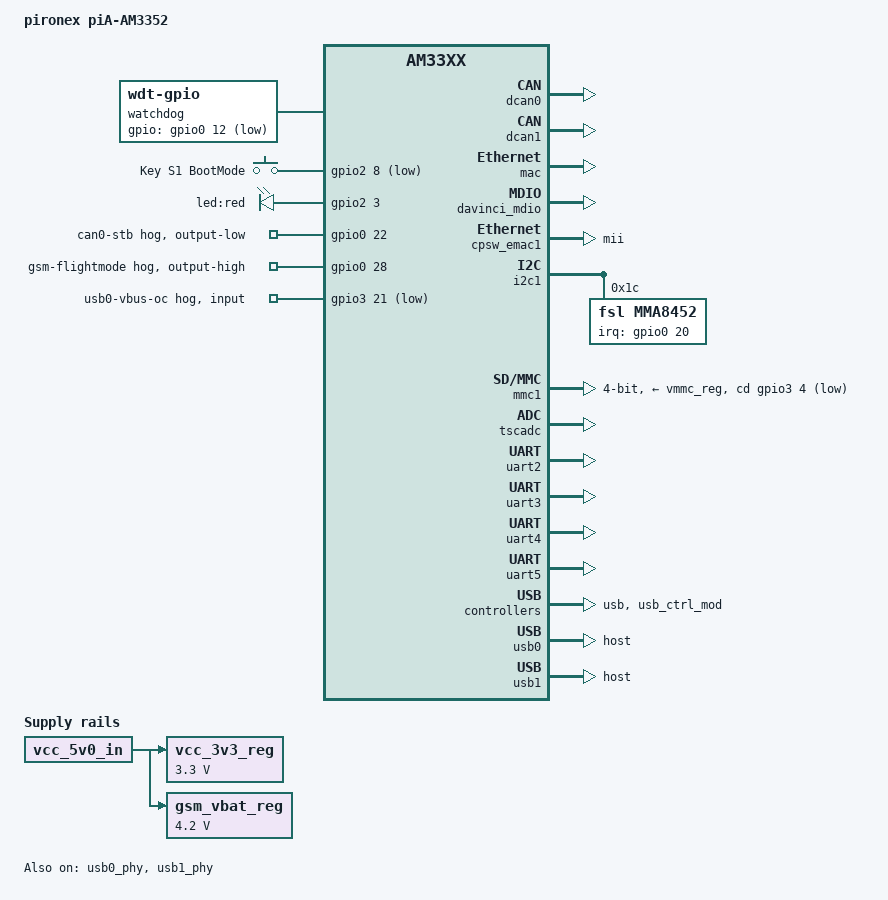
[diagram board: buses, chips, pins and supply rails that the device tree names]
/*
 * Copyright (C) 2015 pironex GmbH (http://www.pironex.de)
 *
 * This program is free software; you can redistribute it and/or modify
 * it under the terms of the GNU General Public License version 2 as
 * published by the Free Software Foundation.
 */
/dts-v1/;

#include "am335x-pia-pm.dtsi"

/ {
	model = "pironex piA-AM3352";
	compatible = "pironex,am335x-pia-base", "pironex,am335x-pia-pm", "ti,am33xx";

	/* cpus: defined in PM */
	/* memory: defined in PM, TODO different memory configurations */

	vcc_3v3_reg: fixedregulator@1 {
		compatible = "regulator-fixed";
		regulator-name = "vcc_3v3_reg";
		regulator-min-microvolt = <3300000>;
		regulator-max-microvolt = <3300000>;
		regulator-max-microamp = <1000000>;
		regulator-boot-on;
		regulator-always-on;
		enable-active-high;
		/*gpio = <&gpio2 23 GPIO_ACTIVE_HIGH>; *//* LDO_EN */
		vin-supply = <&vcc_5v0_in>; /* turned on with vaux2, supplied by vcc_5v0 */
	};

	gsm_vbat_reg: fixedregulator@2 {
		compatible = "regulator-fixed";
		regulator-name = "gsm_vbat_reg";
		regulator-min-microvolt = <4200000>;
		regulator-max-microvolt = <4200000>;
		regulator-max-microamp = <3000000>;
		regulator-boot-on;
		regulator-always-on;
		enable-active-high;
		/*gpio = <&gpio2 2 GPIO_ACTIVE_HIGH>;*/ /* GSM_PWR_EN */
		vin-supply = <&vcc_5v0_in>; /* turned on with vaux2, supplied by vcc_5v0 */
	};

	watchdog: watchdog {
		/* MAX6371 */
		compatible = "linux,wdt-gpio";
		gpios = <&gpio0 12 GPIO_ACTIVE_LOW>;
		hw_algo = "toggle";
		hw_margin_ms = <60000>;
	};

	buttons: gpio_buttons@0 {
		compatible = "gpio-keys";
		#address-cells = <1>;
		#size-cells = <0>;

		switch@1 {
			label = "Key S1 BootMode";
			linux,code = <0x100>;
			gpios = <&gpio2 8 GPIO_ACTIVE_LOW>;
		};
	};
};

&leds {
	led@2 {
		label = "led:red";
		gpios = <&gpio2 3 GPIO_ACTIVE_HIGH>;
		linux,default-trigger = "cpu0";
		default-state = "on";
	};
};

&gpio0 {
	gpio_can0_stb {
		gpio-hog;
		gpios = <22 GPIO_ACTIVE_HIGH>;
		output-low;
		line-name = "can0-stb";
	};

	gpio_gsm_fligthmode {
		gpio-hog;
		gpios = <28 GPIO_ACTIVE_HIGH>;
		output-high;
		line-name = "gsm-flightmode";
	};
};

&gpio3 {
	gpio_oc1 {
		gpio-hog;
		gpios = <21 GPIO_ACTIVE_LOW>;
		input;
		line-name = "usb0-vbus-oc";
	};
};

&am33xx_pinmux {
	pinctrl-names = "default";
	pinctrl-0 = <&board_pins>;

	board_pins: pinmux_board_pins {
		pinctrl-single,pins = <
			0x028 (PIN_INPUT | MUX_MODE7)		/* PM-OUTPUT: gpmc_ad10.gpio0_26*/
			0x090 (PIN_INPUT_PULLUP | MUX_MODE7)	/* GSM_PWR_EN: gpmc_advn_ale.gpio2_2 */
			0x098 (PIN_INPUT_PULLUP | MUX_MODE7)	/* GSM_PWR_OK: gpmc_wen.gpio2_4 */
			0x0A8 (PIN_INPUT | MUX_MODE7)		/* SYSBOOT2/S2: lcd_data2.gpio2_8 */
			0x0E4 (PIN_INPUT_PULLUP | MUX_MODE7)	/* LDO_EN: lcd_hsync.gpio2_23 
								 * unused since Rev 00.02 */
			0x0EC (PIN_INPUT_PULLUP | MUX_MODE7)	/* GSM_RESET: lcd_ac_bias_en.gpio2_25 */ 
			0x128 (PIN_INPUT | MUX_MODE7)		/* FLIGHT-MODE: mii1_txd0.gpio0_28 
								 * unused since Rev 00.02 */
			0x164 (PIN_INPUT | MUX_MODE7)		/* ISO-IN: ecap0_in_pwm0_out.gpio0_7 */
			0x178 (PIN_OUTPUT | MUX_MODE7)		/* WDI: uart1_ctsn.gpio0_12 */
			0x17C (PIN_OUTPUT | MUX_MODE7)		/* WD_SET2: uart1_rtsn.gpio0_13 */
			0x114 (PIN_INPUT | MUX_MODE7)		/* GSM_STATUS: mii1_txen.gpio3_3 */
			0x1A0 (PIN_INPUT_PULLUP | MUX_MODE7)	/* GSM_PWR_KEY: mcasp0_aclkr.gpio3_18 */
			0x1AC (PIN_INPUT | MUX_MODE7)		/* OC1: mcasp0_ahclkx.gpio3_21 */
			0x1B4 (PIN_INPUT_PULLUP | MUX_MODE7)	/* 3G_INT: xdma_event_intr1.gpio0_20 */
		>;
	};

	cpsw_default: pinmux_cpsw_default {
		pinctrl-single,pins = <
			/* Slave 2 */
			0x040 (PIN_OUTPUT_PULLDOWN | MUX_MODE1)	/* gpmc_a0.gmii2_txen */
			0x044 (PIN_INPUT_PULLUP | MUX_MODE1)	/* gpmc_a1.mii2_rxdv */
			0x048 (PIN_OUTPUT_PULLDOWN | MUX_MODE1)	/* gpmc_a2.mii2_txd3 */
			0x04c (PIN_OUTPUT_PULLDOWN | MUX_MODE1)	/* gpmc_a3.mii2_txd2 */
			0x050 (PIN_OUTPUT_PULLDOWN | MUX_MODE1)	/* gpmc_a4.mii2_txd1 */
			0x054 (PIN_OUTPUT_PULLDOWN | MUX_MODE1)	/* gpmc_a5.mii2_txd0 */
			0x058 (PIN_INPUT_PULLUP | MUX_MODE1)	/* gpmc_a6.mii2_txclk */
			0x05c (PIN_INPUT_PULLUP | MUX_MODE1)	/* gpmc_a7.mii2_rxclk */
			0x060 (PIN_INPUT_PULLUP | MUX_MODE1)	/* gpmc_a8.mii2_rxd3 */
			0x064 (PIN_INPUT_PULLUP | MUX_MODE1)	/* gpmc_a9.mii2_rxd2 */
			0x068 (PIN_INPUT_PULLUP | MUX_MODE1)	/* gpmc_a10.mii2_rxd1 */
			0x06c (PIN_INPUT_PULLUP | MUX_MODE1)	/* gpmc_a11.mii2_rxd0 */
			0x070 (PIN_INPUT_PULLUP | MUX_MODE1)	/* gpmc_wait0.gmii2_crs */
			0x074 (PIN_INPUT_PULLUP | MUX_MODE1)	/* gpmc_wpn.gmii2_rxerr */
			0x078 (PIN_INPUT_PULLUP | MUX_MODE1)	/* gpmc_be1n.gmii2_col */
		>;
	};

	cpsw_sleep: pinmux_cpsw_sleep {
		pinctrl-single,pins = <
			/* Slave 2 reset value */
			0x040 (PIN_INPUT_PULLDOWN | MUX_MODE7)
			0x044 (PIN_INPUT_PULLDOWN | MUX_MODE7)
			0x048 (PIN_INPUT_PULLDOWN | MUX_MODE7)
			0x04c (PIN_INPUT_PULLDOWN | MUX_MODE7)
			0x050 (PIN_INPUT_PULLDOWN | MUX_MODE7)
			0x054 (PIN_INPUT_PULLDOWN | MUX_MODE7)
			0x058 (PIN_INPUT_PULLDOWN | MUX_MODE7)
			0x05c (PIN_INPUT_PULLDOWN | MUX_MODE7)
			0x060 (PIN_INPUT_PULLDOWN | MUX_MODE7)
			0x064 (PIN_INPUT_PULLDOWN | MUX_MODE7)
			0x068 (PIN_INPUT_PULLDOWN | MUX_MODE7)
			0x06c (PIN_INPUT_PULLDOWN | MUX_MODE7)
			0x070 (PIN_INPUT_PULLDOWN | MUX_MODE7)
			0x074 (PIN_INPUT_PULLDOWN | MUX_MODE7)
			0x078 (PIN_INPUT_PULLDOWN | MUX_MODE7)
		>;
	};

	led_pins: pinmux_led {
		pinctrl-single,pins = <
			0x07c (PIN_OUTPUT_PULLDOWN | MUX_MODE7)	/* LED1 gpmc_csn0.gpio1_29 */
			0x094 (PIN_OUTPUT_PULLDOWN | MUX_MODE7)	/* LED2 gpmc_oen_ren.gpio2_3 */
		>;
	};

	davinci_mdio_default: pinmux_mdio_default {
		pinctrl-single,pins = <
			/* MDIO */
			0x148 (PIN_INPUT_PULLUP | SLEWCTRL_FAST | MUX_MODE0)	/* mdio_data.mdio_data */
			0x14c (PIN_OUTPUT_PULLUP | MUX_MODE0)			/* mdio_clk.mdio_clk */
		>;
	};

	davinci_mdio_sleep: pinmux_mdio_sleep {
		pinctrl-single,pins = <
			/* MDIO reset value */
			0x148 (PIN_INPUT_PULLDOWN | MUX_MODE7)
			0x14c (PIN_INPUT_PULLDOWN | MUX_MODE7)
		>;
	};

	dcan0_pins: pinmux_dcan0_pins {
		pinctrl-single,pins = <
			0x020 (PIN_OUTPUT_PULLUP | MUX_MODE7) /* CAN0_STB: gpmc_ad8.gpio0_22 */
			0x11C (PIN_OUTPUT | MUX_MODE1)	/* mii1_txd3.dcan0_tx */
			0x120 (PIN_INPUT | MUX_MODE1)	/* mii1_txd2.dcan0_rx */
		>;
	};

	dcan1_pins: pinmux_dcan1_pins {
		pinctrl-single,pins = <
			0x180 (PIN_OUTPUT | MUX_MODE2)	/* uart1_rxd.dcan1_tx */
			0x184 (PIN_INPUT | MUX_MODE2)	/* uart1_txd.dcan1_rx */
			0x0E8 (PIN_INPUT_PULLDOWN | MUX_MODE7) /* CAN1_RES: lcd_pclk.gpio2_24 */
		>;
	};

	mmc1_pins: pinmux_mmc1_pins {
		pinctrl-single,pins = <
			0x0f0 (PIN_INPUT_PULLUP | MUX_MODE0)	/* mmc0_dat0.mmc0_dat0 */
			0x0f4 (PIN_INPUT_PULLUP | MUX_MODE0)	/* mmc0_dat1.mmc0_dat1 */
			0x0f8 (PIN_INPUT_PULLUP | MUX_MODE0)	/* mmc0_dat2.mmc0_dat2 */
			0x0fc (PIN_INPUT_PULLUP | MUX_MODE0)	/* mmc0_dat3.mmc0_dat3 */
			0x100 (PIN_INPUT_PULLUP | MUX_MODE0)	/* mmc0_clk.mmc0_clk */
			0x104 (PIN_INPUT_PULLUP | MUX_MODE0)	/* mmc0_cmd.mmc0_cmd */
			0x118 (PIN_INPUT_PULLUP | MUX_MODE7)	/* mii1_rxdv.gpio3_4 */
		>;
	};

	uart2_pins: pinmux_uart2_pins {
		pinctrl-single,pins = <
			/* 0x0C0 (PIN_INPUT_PULLUP | MUX_MODE6) */	/* lcd_data8.uart2_ctsn */
			/* 0x0C4 (PIN_OUTPUT | MUX_MODE6) */	/* lcd_data9.uart2_rtsn */
			0x12C (PIN_INPUT_PULLUP | MUX_MODE1)	/* mii1_txclk.uart2_rxd */
			0x130 (PIN_OUTPUT_PULLDOWN | MUX_MODE1)	/* mii1_rxclk.uart2_txd */
			0x19C (PIN_INPUT_PULLUP | MUX_MODE7)	/* UART2.RI: mcasp0_ahclkr.gpio3_17 */
			0x1A4 (PIN_INPUT | MUX_MODE7)	/* UART2.DTR: mcasp0_fsr.gpio3_19 */
		>;
	};

	uart3_pins: pinmux_uart3_pins {
		pinctrl-single,pins = <
			0x02C (PIN_INPUT_PULLDOWN | MUX_MODE7)	/* RES gpmc_ad11.gpio0_27 */
			0x0CC (PIN_OUTPUT | MUX_MODE7)		/* RTSn lcd_data11.gpio2_17 */
			/*0x0CC (PIN_INPUT | MUX_MODE6)*/		/* RTSn lcd_data11.uart3_rtsn */
			0x134 (PIN_INPUT_PULLUP | MUX_MODE1)	/* mii1_rxd3.uart3_rxd */
			0x138 (PIN_OUTPUT_PULLDOWN | MUX_MODE1)	/* mii1_rxd2.uart3_txd */
		>;
	};

	uart4_pins: pinmux_uart4_pins {
		pinctrl-single,pins = <
			0x168 (PIN_INPUT_PULLUP | MUX_MODE1)	/* uart0_rxd.uart4_rxd */
			0x16C (PIN_OUTPUT_PULLDOWN | MUX_MODE1)	/* uart0_txd.uart4_txd */
		>;
	};

	uart5_pins: pinmux_uart5_pins {
		pinctrl-single,pins = <
			0x0E0 (PIN_INPUT_PULLUP | MUX_MODE7)	/* nINVALID lcd_vsync.gpio2_22 */
			0x108 (PIN_INPUT_PULLUP | MUX_MODE3)	/* mii1_col.uart5_rxd */
			0x144 (PIN_OUTPUT_PULLDOWN | MUX_MODE3)	/* rmii1_refclk.uart5_txd */
		>;
	};

	usb0_pins: pinmux_usb0_pins {
		pinctrl-single,pins = <
			0x21c (PIN_OUTPUT | MUX_MODE0)	/* usb0_drvvbus.usb0_drvvbus */
		>;
	};

	usb1_pins: pinmux_usb1_pins {
		pinctrl-single,pins = <
			0x234 (PIN_OUTPUT | MUX_MODE0)	/* usb1_drvvbus.usb1_drvvbus */
		>;
	};
};

&dcan0 {
	pinctrl-names = "default";
	pinctrl-0 = <&dcan0_pins>;
	/* TODO is there a ways to provide a -supply? */

	status = "okay";
};

&dcan1 {
	pinctrl-names = "default";
	pinctrl-0 = <&dcan1_pins>;

	status = "okay";
};

&mac {
	pinctrl-names = "default", "sleep";
	pinctrl-0 = <&cpsw_default>;
	pinctrl-1 = <&cpsw_sleep>;
	active_slave = <1>; /* only MII2 connected */

	status = "okay";
};

&davinci_mdio {
	pinctrl-names = "default", "sleep";
	pinctrl-0 = <&davinci_mdio_default>;
	pinctrl-1 = <&davinci_mdio_sleep>;

	status = "okay";
};

&cpsw_emac1 {
	phy_id = <&davinci_mdio>, <0>;
	phy-mode = "mii";
};

&i2c1 {
	mma8452@1C {
		compatible = "fsl,mma8452";
		reg = <0x1C>;
		interrupt-parent = <&gpio0>;
		interrupts = <20 2>; /* low flank */
	};
};

/* uSD */
&mmc1 {
	vmmc-supply = <&vmmc_reg>;
	bus-width = <4>; /* 4 data lines */
	pinctrl-names = "default";
	pinctrl-0 = <&mmc1_pins>;
	cd-gpios = <&gpio3 4 GPIO_ACTIVE_LOW>;

	status = "okay";
};

&tscadc {
	status = "okay";

	/*tsc { };*/
	adc {
		ti,adc-channels = <6>;
		ti,chan-step-avg = <16>;
	};
};

/* SIMCOM GSM AT */
&uart2 {
	pinctrl-names = "default";
	pinctrl-0 = <&uart2_pins>;

	status = "okay";
};

/* RS485 */
&uart3 {
	pinctrl-names = "default";
	pinctrl-0 = <&uart3_pins>;

	rts-gpio = <&gpio2 17 GPIO_ACTIVE_HIGH>;
	rs485-rts-active-high;
	rs485-rts-delay = <1 0>;
	linux,rs485-enabled-at-boot-time;

	status = "okay";
};

/* SIMCOM GPS NMEA */
&uart4 {
	pinctrl-names = "default";
	pinctrl-0 = <&uart4_pins>;

	status = "okay";
};

/* RS232 */
&uart5 {
	pinctrl-names = "default";
	pinctrl-0 = <&uart5_pins>;

	status = "okay";
};

&usb {
	status = "okay";
};

&usb_ctrl_mod {
	status = "okay";
};

&usb0_phy {
	pinctrl-names = "default";
	pinctrl-0 = <&usb0_pins>;

	vcc-supply = <&gsm_vbat_reg>;

	status = "okay";
};

&usb1_phy {
	pinctrl-names = "default";
	pinctrl-0 = <&usb1_pins>;

	status = "okay";
};

&usb0 {
	status = "okay";
	dr_mode = "host";
};

&usb1 {
	status = "okay";
	dr_mode = "host";
};

&cppi41dma  {
	status = "okay";
};
